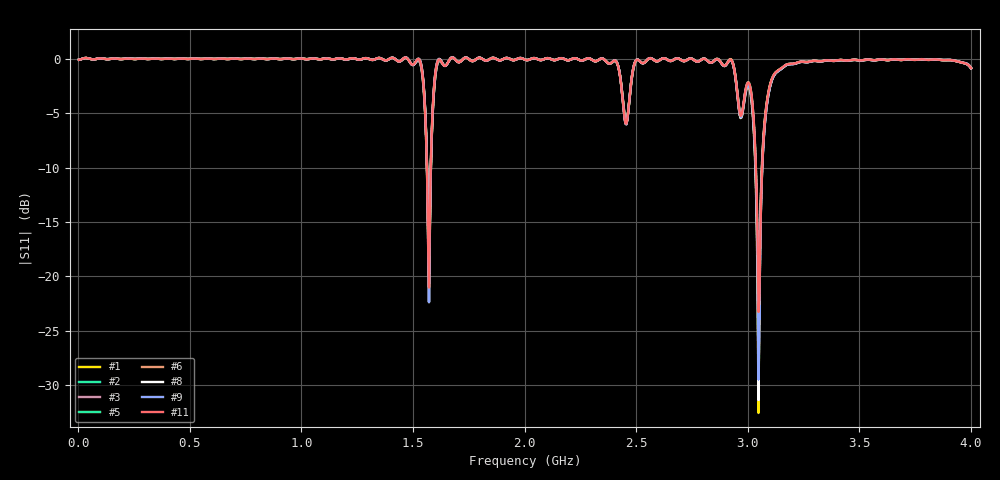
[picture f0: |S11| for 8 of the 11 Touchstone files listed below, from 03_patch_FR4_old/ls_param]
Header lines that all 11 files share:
! TOUCHSTONE file generated by CST MICROWAVE STUDIO
! Project name: AppElm_antenne_patch_FR4.cst
! Header version: 2018
! Port assignment regex: !\s*Touchstone port\s*([0-9]+)\s*=\s*(CST MWS port|CST DS port)\s*([0-9]+|Zmin|Zmax)\s*\(\"(.*)\"\)(\s*mode\s*([0-9]+))?.*
! Touchstone port assignment:
! Touchstone port 1 = CST MWS port 1 ("")
# GHz S MA R 50
Fixed: L = 45, W = 58.5, e = 0.035, h = 1.6, lambda = 0.190476, w0 = 1.6, w1 = 0.533, ws = 120, y0 = 20, y1 = 23.81
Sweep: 4 MHz to 4 GHz
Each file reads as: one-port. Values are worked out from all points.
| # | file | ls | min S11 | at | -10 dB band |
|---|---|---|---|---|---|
| 1 | AppElm_antenne_patch_FR4_1.s1p | 90 | -32.6 dB | 3.048 GHz | 29.48 MHz wide |
| 2 | AppElm_antenne_patch_FR4_2.s1p | 96 | -30.6 dB | 3.048 GHz | 29.4 MHz wide |
| 3 | AppElm_antenne_patch_FR4_3.s1p | 102 | -26.6 dB | 3.048 GHz | 28.88 MHz wide |
| 4 | AppElm_antenne_patch_FR4_4.s1p | 108 | -24.3 dB | 3.048 GHz | 28.25 MHz wide |
| 5 | AppElm_antenne_patch_FR4_5.s1p | 114 | -23.6 dB | 3.048 GHz | 27.85 MHz wide |
| 6 | AppElm_antenne_patch_FR4_6.s1p | 120 | -24.3 dB | 3.048 GHz | 28.04 MHz wide |
| 7 | AppElm_antenne_patch_FR4_7.s1p | 126 | -27.0 dB | 3.048 GHz | 28.79 MHz wide |
| 8 | AppElm_antenne_patch_FR4_8.s1p | 132 | -31.4 dB | 3.048 GHz | 29.54 MHz wide |
| 9 | AppElm_antenne_patch_FR4_9.s1p | 138 | -29.5 dB | 3.048 GHz | 29.75 MHz wide |
| 10 | AppElm_antenne_patch_FR4_10.s1p | 144 | -25.4 dB | 3.048 GHz | 29.12 MHz wide |
| 11 | AppElm_antenne_patch_FR4_11.s1p | 150 | -23.3 dB | 3.048 GHz | 28.17 MHz wide |
